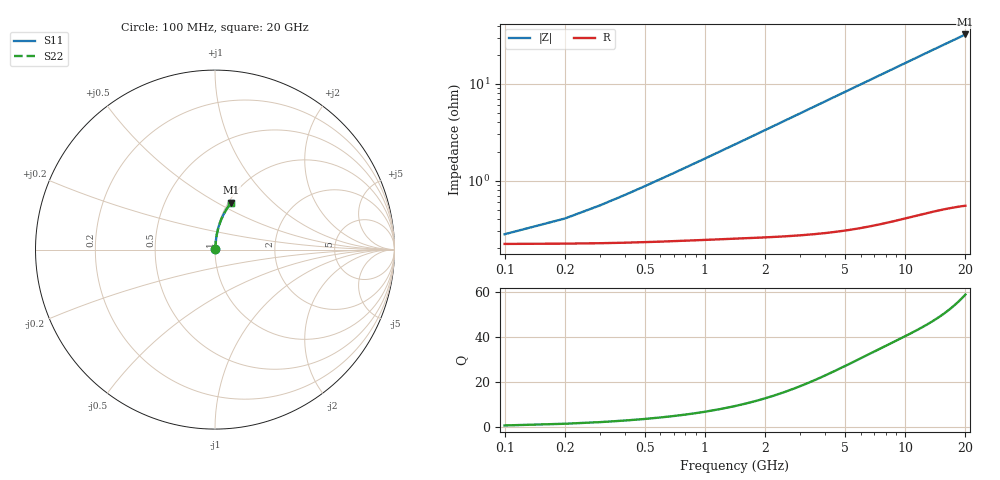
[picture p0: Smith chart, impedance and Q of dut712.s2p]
! Touchstone file exported from HFSS 2024.1.0
!  File:  C:/UserFiles/LocalFiles/RDL_TSV_Batchsim/temp_RDL_top_712_1779850272.aedt
!  Generated:  10:53:22 AM May 27, 2026
!  Design:  RDL_top
!  Project:  temp_RDL_top_712_1779850272
!  Setup:  Setup1
!  Solution:  Sweep
! Variables:
!  dtsv = 10.80580581um
!  hbump = 3um
!  htsv = 94.03um
!  ldown = 100um
!  lrdl = 184.48um
!  p = 40
!  p1 = 57.13um
!  rhole = 1um
!  t = 450um
!  tdown = 3.915915916um
!  trdl = 2.96um
!  wdown = 15.38538539um
!  wrdl = 10.81um
# GHz S MA R 50.000000
! Terminal data exported
! Port[1] = Box2_T1
! Port[2] = Box2_T2
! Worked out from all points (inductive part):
!   200 points, 100 MHz to 20 GHz, reference 50 ohm
!   read as one part in series: L = 267 pH near 500 MHz
!   highest Q = 59 at 20 GHz (marker M1), where L = 258 pH
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0.1  0.002646 33.3  0.9978 -0.1  0.9978 -0.1  0.002646 33.3
! Gamma 0 0 0 0
! Port Impedance 50 0 50 0
0.2  0.00366 52.4  0.9978 -0.2  0.9978 -0.2  0.00366 52.4
0.3  0.004896 62.4  0.9977 -0.3  0.9977 -0.3  0.004896 62.4
0.4  0.006217 68.2  0.9977 -0.4  0.9977 -0.4  0.006217 68.2
0.5  0.007574 71.9  0.9976 -0.6  0.9976 -0.6  0.007574 71.9
0.6  0.008947 74.4  0.9976 -0.7  0.9976 -0.7  0.008947 74.4
0.8  0.01171 77.7  0.9975 -0.9  0.9975 -0.9  0.01171 77.7
1.1  0.01589 80.4  0.9973 -1.2  0.9973 -1.2  0.01589 80.4
1.5  0.02149 82.2  0.997 -1.6  0.997 -1.6  0.02149 82.2
1.8  0.0257 83.0  0.9968 -2.0  0.9968 -2.0  0.0257 83.0
2.1  0.02992 83.5  0.9966 -2.3  0.9966 -2.3  0.02992 83.5
2.7  0.03838 84.1  0.9959 -2.9  0.9959 -2.9  0.03838 84.1
3.5  0.0497 84.2  0.9949 -3.8  0.9949 -3.8  0.0497 84.2
4.2  0.05963 84.1  0.9939 -4.5  0.9939 -4.5  0.05963 84.1
5  0.071 83.8  0.9924 -5.4  0.9924 -5.4  0.071 83.8
5.9  0.08381 83.3  0.9906 -6.3  0.9906 -6.3  0.08381 83.3
6.8  0.09663 82.7  0.9886 -7.2  0.9886 -7.2  0.09663 82.7
8.3  0.118 81.6  0.9848 -8.8  0.9848 -8.8  0.118 81.6
10.1  0.1435 80.1  0.9797 -10.6  0.9797 -10.6  0.1435 80.1
13.4  0.1895 77.1  0.969 -13.8  0.969 -13.8  0.1895 77.1
16.7  0.2341 74.0  0.9569 -17.0  0.9569 -17.0  0.2341 74.0
20  0.277 71.0  0.9435 -20.0  0.9435 -20.0  0.277 71.0
